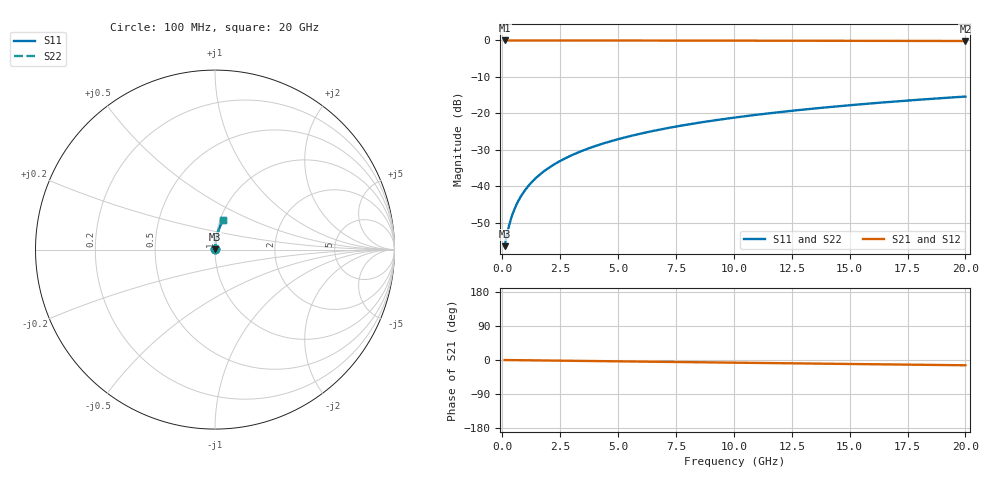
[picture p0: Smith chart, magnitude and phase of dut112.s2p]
! Touchstone file exported from HFSS 2026.1.0
!  File:  C:/ffzhzh/LocalFiles/Ansys_Project_Files/temp_train_TSV_112_1782989755_41620.aedt
!  Generated:  06:58:01 PM Jul  2, 2026
!  Design:  TSV
!  Project:  temp_train_TSV_112_1782989755_41620
! Variables:
!  h_bsmrdl = 2um
!  h_ox = 20um
!  h_rdl = 5um
!  h_sub = 93.26um
!  h_tmrdl = 5um
!  h_tsv = 93.26um
!  h_via = 3um
!  l_bsmrdl = 300um
!  l_sub = 405.96um
!  l_tmrdl = 200um
!  m_sub = 200um
!  pitch = 59.32um
!  r_tsv = 2.98um
!  s_tmrdl = 10um
!  w_bsmrdl = 18um
!  w_sub = 500um
!  w_tmrdl = 12um
!  x_tsv_center1 = 206um
!  x_tsv_center2 = 524um
!  x_tsv_center3 = 736um
!  x_tsv_center4 = 1054um
!  x_tsv_center5 = 1266um
!  x_tsv_center6 = 1584um
# GHz S MA R 50.000000
! Terminal data exported
! Port[1] = TSV1_1_T1
! Port[2] = TSV1_1_T2
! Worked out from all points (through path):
!   200 points, 100 MHz to 20 GHz, reference 50 ohm
!   highest |S21| = -0.01 dB at 100 MHz (marker M1); lowest = -0.2 dB at 20 GHz (marker M2)
!   group delay of S21, straight-line fit = 1.93 ps
!   lowest |S11| = -56.4 dB at 100 MHz (marker M3), VSWR 1.00, Z = 50.1 + j0.0902 ohm
!   |S11| at or under -10 dB: start of sweep to end of sweep
!   |S22| runs from -56.4 to -15.4 dB; largest |S21 - S12| = 5.4e-15
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0.1  0.001514 36.5  0.9988 -0.1  0.9988 -0.1  0.001514 36.5
! Gamma 0 0 0 0
! Port Impedance 50 0 50 0
0.2  0.002176 55.7  0.9988 -0.1  0.9988 -0.1  0.002176 55.7
0.3  0.002963 65.2  0.9988 -0.2  0.9988 -0.2  0.002963 65.2
0.4  0.003796 70.7  0.9988 -0.3  0.9988 -0.3  0.003796 70.7
0.5  0.004649 74.1  0.9987 -0.4  0.9987 -0.4  0.004649 74.1
0.6  0.005514 76.4  0.9987 -0.4  0.9987 -0.4  0.005514 76.4
0.8  0.00726 79.4  0.9987 -0.6  0.9987 -0.6  0.00726 79.4
1.1  0.009901 81.8  0.9987 -0.8  0.9987 -0.8  0.009901 81.8
1.5  0.01344 83.3  0.9986 -1.1  0.9986 -1.1  0.01344 83.3
1.8  0.01609 83.9  0.9985 -1.3  0.9985 -1.3  0.01609 83.9
2.1  0.01875 84.3  0.9985 -1.5  0.9985 -1.5  0.01875 84.3
2.7  0.02406 84.7  0.9983 -1.9  0.9983 -1.9  0.02406 84.7
3.5  0.03112 84.7  0.998 -2.5  0.998 -2.5  0.03112 84.7
4.2  0.03728 84.5  0.9977 -3.0  0.9977 -3.0  0.03728 84.5
5  0.04429 84.1  0.9972 -3.6  0.9972 -3.6  0.04429 84.1
5.9  0.05213 83.7  0.9967 -4.2  0.9967 -4.2  0.05213 83.7
6.8  0.05994 83.2  0.9961 -4.8  0.9961 -4.8  0.05994 83.2
8.3  0.07285 82.3  0.995 -5.9  0.995 -5.9  0.07285 82.3
10.1  0.08821 81.1  0.9934 -7.1  0.9934 -7.1  0.08821 81.1
13.4  0.116 79.0  0.9901 -9.4  0.9901 -9.4  0.116 79.0
16.7  0.1433 76.9  0.9862 -11.7  0.9862 -11.7  0.1433 76.9
20  0.1701 74.8  0.9816 -13.9  0.9816 -13.9  0.1701 74.8
